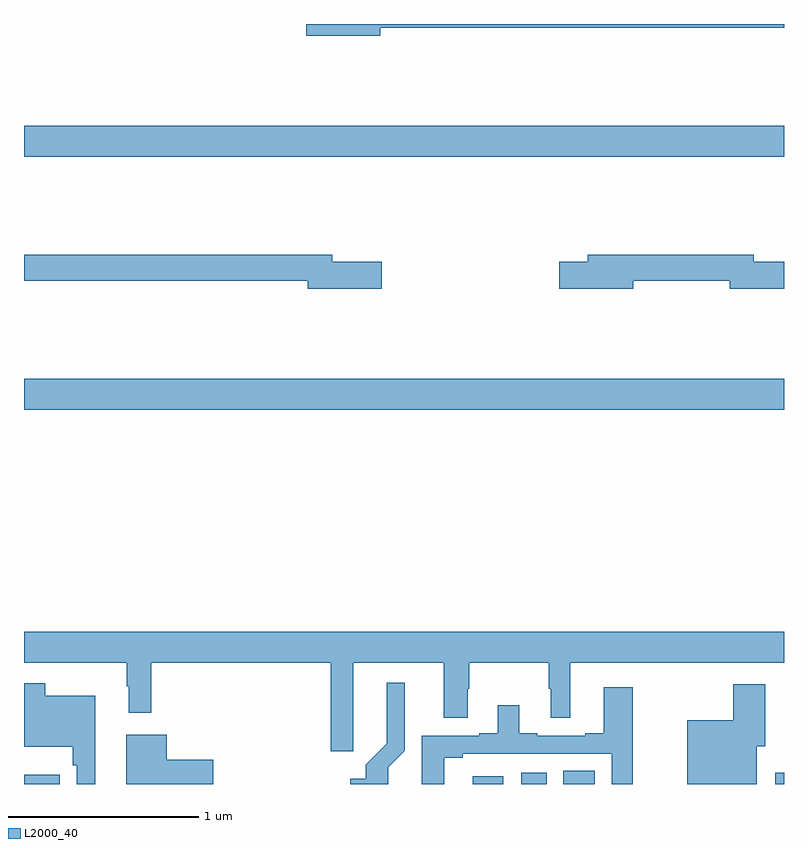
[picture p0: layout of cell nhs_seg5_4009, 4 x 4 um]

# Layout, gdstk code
import gdstk
lib = gdstk.Library(unit=1e-6, precision=1e-09)
def R(c, l, rs):  # rectangles x0, y0, x1, y1
    for r in rs: c.add(gdstk.rectangle(r[:2], r[2:], *l))
def P(c, l, *ps):  # polygons
    for p in ps: c.add(gdstk.Polygon(p, *l))
L2000_40 = (2000, 40)

nhs_seg5_4009 = lib.new_cell('nhs_seg5_4009')
R(nhs_seg5_4009, L2000_40, [(347,846.799,347.188,846.847), (349.361,846.799,349.522,846.841), (349.616,846.799,349.75,846.859), (349.839,846.799,350.005,846.868), (350.955,846.799,351,846.859), (347,848.768,351,848.932), (347,850.1,351,850.264)])
P(nhs_seg5_4009, L2000_40, [(348.874,850.78),(351,850.78),(351,850.799),(348.486,850.799),(348.486,850.738),(348.874,850.738)],
  [(348.883,849.548),(348.622,849.548),(348.622,849.584),(347,849.584),(347,849.448),(348.494,849.448),(348.494,849.406),(348.883,849.406)],
  [(350.206,849.448),(350.714,849.448),(350.714,849.406),(351,849.406),(351,849.548),(350.842,849.548),(350.842,849.584),(349.967,849.584),(349.967,849.548),(349.818,849.548),(349.818,849.406),(350.206,849.406)],
  [(348.733,847.436),(349.208,847.436),(349.208,847.149),(349.336,847.149),(349.336,847.3),(349.344,847.3),(349.344,847.436),(349.762,847.436),(349.762,847.3),(349.772,847.3),(349.772,847.149),(349.876,847.149),(349.876,847.436),(351,847.436),(351,847.6),(347,847.6),(347,847.436),(347.541,847.436),(347.541,847.313),(347.552,847.313),(347.552,847.173),(347.669,847.173),(347.669,847.436),(348.615,847.436),(348.615,846.972),(348.733,846.972)],
  [(348.918,846.888),(349.005,846.975),(349.005,847.333),(348.908,847.333),(348.908,847.114),(348.909,847.114),(348.909,847.011),(348.798,846.9),(348.798,846.826),(348.716,846.826),(348.716,846.799),(348.918,846.799)],
  [(347.374,847.264),(347.113,847.264),(347.113,847.33),(347,847.33),(347,846.995),(347.257,846.995),(347.257,846.899),(347.277,846.899),(347.277,846.799),(347.374,846.799)],
  [(350.857,846.998),(350.902,846.998),(350.902,847.324),(350.732,847.324),(350.732,847.135),(350.492,847.135),(350.492,846.799),(350.857,846.799)],
  [(349.213,846.937),(349.309,846.937),(349.309,846.957),(350.094,846.957),(350.094,846.799),(350.203,846.799),(350.203,847.06),(350.204,847.06),(350.204,847.309),(350.051,847.309),(350.051,847.066),(349.955,847.066),(349.955,847.053),(349.702,847.053),(349.702,847.066),(349.606,847.066),(349.606,847.213),(349.493,847.213),(349.493,847.066),(349.397,847.066),(349.397,847.053),(349.094,847.053),(349.094,846.799),(349.213,846.799)],
  [(347.995,846.926),(347.752,846.926),(347.752,847.057),(347.537,847.057),(347.537,846.799),(347.995,846.799)])

lib.write_gds('nhs_seg5_4009.gds')
